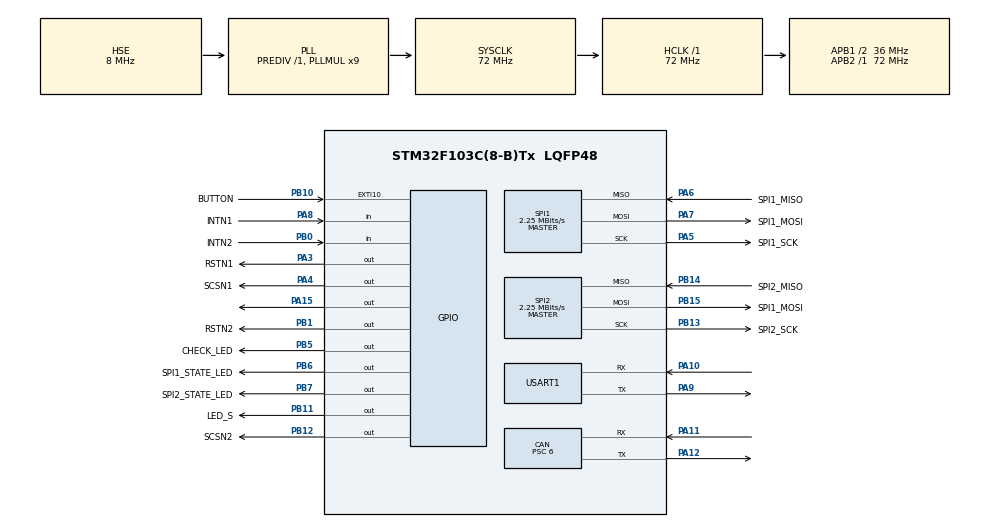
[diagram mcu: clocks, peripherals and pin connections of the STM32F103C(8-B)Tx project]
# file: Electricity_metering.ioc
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CAN.ABOM=ENABLE
CAN.AWUM=ENABLE
CAN.BS1=CAN_BS1_7TQ
CAN.BS2=CAN_BS2_6TQ
CAN.CalculateTimeBit=2333
CAN.CalculateTimeQuantum=166.66666666666669
CAN.Prescaler=6
Dma.Request0=USART1_RX
Dma.USART1_RX.0.Direction=DMA_PERIPH_TO_MEMORY
Dma.USART1_RX.0.Instance=DMA1_Channel5
Dma.USART1_RX.0.MemDataAlignment=DMA_MDATAALIGN_BYTE
Dma.USART1_RX.0.MemInc=DMA_MINC_ENABLE
Dma.USART1_RX.0.Mode=DMA_NORMAL
Dma.USART1_RX.0.PeriphDataAlignment=DMA_PDATAALIGN_BYTE
Dma.USART1_RX.0.PeriphInc=DMA_PINC_DISABLE
Dma.USART1_RX.0.Priority=DMA_PRIORITY_HIGH
FREERTOS.Tasks01=defaultTask,0,128,StartDefaultTask,Default,NULL,Dynamic,NULL,NULL
FREERTOS.configCHECK_FOR_STACK_OVERFLOW=2
FREERTOS.configLIBRARY_MAX_SYSCALL_INTERRUPT_PRIORITY=1
FREERTOS.configTOTAL_HEAP_SIZE=10240
FREERTOS.configUSE_MALLOC_FAILED_HOOK=1
FREERTOS.configUSE_TIMERS=1
Mcu.Family=STM32F1
Mcu.Name=STM32F103C(8-B)Tx
Mcu.Package=LQFP48
NVIC.DMA1_Channel5_IRQn=true\:1\:0\:false\:false\:true\:true\:false
NVIC.EXTI15_10_IRQn=true\:4\:0\:true\:false\:true\:true\:true
NVIC.PriorityGroup=NVIC_PRIORITYGROUP_4
NVIC.TIM1_UP_IRQn=true\:0\:0\:false\:false\:true\:false\:false
NVIC.TIM2_IRQn=true\:2\:0\:true\:false\:true\:true\:true
NVIC.TimeBase=TIM1_UP_IRQn
NVIC.TimeBaseIP=TIM1
NVIC.USART1_IRQn=true\:3\:0\:true\:false\:true\:true\:true
NVIC.USB_LP_CAN1_RX0_IRQn=true\:2\:0\:true\:false\:true\:true\:true
PA10.Mode=Asynchronous
PA10.Signal=USART1_RX
PA11.Mode=Master
PA11.Signal=CAN_RX
PA12.Mode=Master
PA12.Signal=CAN_TX
PA13.Mode=Serial_Wire
PA13.Signal=SYS_JTMS-SWDIO
PA14.Mode=Serial_Wire
PA14.Signal=SYS_JTCK-SWCLK
PA15.Signal=GPIO_Output
PA3.GPIO_Label=RSTN1
PA3.GPIO_Speed=GPIO_SPEED_FREQ_HIGH
PA3.PinState=GPIO_PIN_SET
PA3.Signal=GPIO_Output
PA4.GPIO_Label=SCSN1
PA4.GPIO_Speed=GPIO_SPEED_FREQ_HIGH
PA4.PinState=GPIO_PIN_SET
PA4.Signal=GPIO_Output
PA5.GPIO_Label=SPI1_SCK
PA5.Mode=Full_Duplex_Master
PA5.Signal=SPI1_SCK
PA6.GPIO_Label=SPI1_MISO
PA6.Mode=Full_Duplex_Master
PA6.Signal=SPI1_MISO
PA7.GPIO_Label=SPI1_MOSI
PA7.Mode=Full_Duplex_Master
PA7.Signal=SPI1_MOSI
PA8.GPIO_Label=INTN1
PA8.Signal=GPIO_Input
PA9.Mode=Asynchronous
PA9.Signal=USART1_TX
PB0.GPIO_Label=INTN2
PB0.Signal=GPIO_Input
PB1.GPIO_Label=RSTN2
PB1.PinState=GPIO_PIN_SET
PB1.Signal=GPIO_Output
PB10.GPIO_Label=BUTTON
PB10.Signal=GPXTI10
PB11.GPIO_Label=LED_S
PB11.GPIO_Speed=GPIO_SPEED_FREQ_HIGH
PB11.PinState=GPIO_PIN_RESET
PB11.Signal=GPIO_Output
PB12.GPIO_Label=SCSN2
PB12.GPIO_Speed=GPIO_SPEED_FREQ_HIGH
PB12.PinState=GPIO_PIN_SET
PB12.Signal=GPIO_Output
PB13.GPIO_Label=SPI2_SCK
PB13.Mode=Full_Duplex_Master
PB13.Signal=SPI2_SCK
PB14.GPIO_Label=SPI2_MISO
PB14.Mode=Full_Duplex_Master
PB14.Signal=SPI2_MISO
PB15.GPIO_Label=SPI1_MOSI
PB15.Mode=Full_Duplex_Master
PB15.Signal=SPI2_MOSI
PB5.GPIO_Label=CHECK_LED
PB5.GPIO_Speed=GPIO_SPEED_FREQ_HIGH
PB5.PinState=GPIO_PIN_SET
PB5.Signal=GPIO_Output
PB6.GPIO_Label=SPI1_STATE_LED
PB6.GPIO_Speed=GPIO_SPEED_FREQ_HIGH
PB6.PinState=GPIO_PIN_SET
PB6.Signal=GPIO_Output
PB7.GPIO_Label=SPI2_STATE_LED
PB7.GPIO_Speed=GPIO_SPEED_FREQ_HIGH
PB7.PinState=GPIO_PIN_SET
PB7.Signal=GPIO_Output
PD0-OSC_IN.Mode=HSE-External-Oscillator
PD0-OSC_IN.Signal=RCC_OSC_IN
PD1-OSC_OUT.Mode=HSE-External-Oscillator
PD1-OSC_OUT.Signal=RCC_OSC_OUT
ProjectManager.HeapSize=0x200
ProjectManager.StackSize=0x400
ProjectManager.TargetToolchain=MDK-ARM V5
RCC.AHBFreq_Value=72000000
RCC.APB1CLKDivider=RCC_HCLK_DIV2
RCC.APB1Freq_Value=36000000
RCC.APB1TimFreq_Value=72000000
RCC.APB2Freq_Value=72000000
RCC.APB2TimFreq_Value=72000000
RCC.HCLKFreq_Value=72000000
RCC.PLLMUL=RCC_PLL_MUL9
RCC.PLLSourceVirtual=RCC_PLLSOURCE_HSE
RCC.SYSCLKFreq_VALUE=72000000
RCC.SYSCLKSource=RCC_SYSCLKSOURCE_PLLCLK
RCC.USBFreq_Value=72000000
SPI1.BaudRatePrescaler=SPI_BAUDRATEPRESCALER_32
SPI1.CLKPhase=SPI_PHASE_2EDGE
SPI1.CalculateBaudRate=2.25 MBits/s
SPI1.Direction=SPI_DIRECTION_2LINES
SPI1.Mode=SPI_MODE_MASTER
SPI1.VirtualType=VM_MASTER
SPI2.BaudRatePrescaler=SPI_BAUDRATEPRESCALER_16
SPI2.CLKPhase=SPI_PHASE_2EDGE
SPI2.CalculateBaudRate=2.25 MBits/s
SPI2.Direction=SPI_DIRECTION_2LINES
SPI2.Mode=SPI_MODE_MASTER
SPI2.VirtualType=VM_MASTER
TIM2.Period=(7200-1)
TIM2.Prescaler=10000
USART1.VirtualMode=VM_ASYNC
VP_FREERTOS_VS_ENABLE.Mode=Enabled
VP_SYS_VS_tim1.Mode=TIM1
VP_TIM2_VS_ClockSourceINT.Mode=Internal
board=Electricity_metering

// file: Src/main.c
/**
  ******************************************************************************
  * File Name          : main.c
  * Description        : Main program body
  ******************************************************************************
  * This notice applies to any and all portions of this file
  * that are not between comment pairs USER CODE BEGIN and
  * USER CODE END. Other portions of this file, whether
  * inserted by the user or by software development tools
  * are owned by their respective copyright owners.
  *
  * Copyright (c) 2017 STMicroelectronics International N.V.
  * All rights reserved.
  *
  * Redistribution and use in source and binary forms, with or without
  * modification, are permitted, provided that the following conditions are met:
  *
  * 1. Redistribution of source code must retain the above copyright notice,
  *    this list of conditions and the following disclaimer.
  * 2. Redistributions in binary form must reproduce the above copyright notice,
  *    this list of conditions and the following disclaimer in the documentation
  *    and/or other materials provided with the distribution.
  * 3. Neither the name of STMicroelectronics nor the names of other
  *    contributors to this software may be used to endorse or promote products
  *    derived from this software without specific written permission.
  * 4. This software, including modifications and/or derivative works of this
  *    software, must execute solely and exclusively on microcontroller or
  *    microprocessor devices manufactured by or for STMicroelectronics.
  * 5. Redistribution and use of this software other than as permitted under
  *    this license is void and will automatically terminate your rights under
  *    this license.
  *
  * THIS SOFTWARE IS PROVIDED BY STMICROELECTRONICS AND CONTRIBUTORS "AS IS"
  * AND ANY EXPRESS, IMPLIED OR STATUTORY WARRANTIES, INCLUDING, BUT NOT
  * LIMITED TO, THE IMPLIED WARRANTIES OF MERCHANTABILITY, FITNESS FOR A
  * PARTICULAR PURPOSE AND NON-INFRINGEMENT OF THIRD PARTY INTELLECTUAL PROPERTY
  * RIGHTS ARE DISCLAIMED TO THE FULLEST EXTENT PERMITTED BY LAW. IN NO EVENT
  * SHALL STMICROELECTRONICS OR CONTRIBUTORS BE LIABLE FOR ANY DIRECT, INDIRECT,
  * INCIDENTAL, SPECIAL, EXEMPLARY, OR CONSEQUENTIAL DAMAGES (INCLUDING, BUT NOT
  * LIMITED TO, PROCUREMENT OF SUBSTITUTE GOODS OR SERVICES; LOSS OF USE, DATA,
  * OR PROFITS; OR BUSINESS INTERRUPTION) HOWEVER CAUSED AND ON ANY THEORY OF
  * LIABILITY, WHETHER IN CONTRACT, STRICT LIABILITY, OR TORT (INCLUDING
  * NEGLIGENCE OR OTHERWISE) ARISING IN ANY WAY OUT OF THE USE OF THIS SOFTWARE,
  * EVEN IF ADVISED OF THE POSSIBILITY OF SUCH DAMAGE.
  *
  ******************************************************************************
  */

#include "main.h"
#include "stm32f1xx_hal.h"
#include "cmsis_os.h"
#include "can.h"
#include "dma.h"
#include "spi.h"
#include "tim.h"
#include "usart.h"
#include "gpio.h"

/* USER CODE BEGIN Includes */
#include "spi_network.h"
#include "env.h"
/* USER CODE END Includes */

/* USER CODE BEGIN PV */
/* Private variables ---------------------------------------------------------*/

/* USER CODE END PV */

void SystemClock_Config(void);
void MX_FREERTOS_Init(void);

/* USER CODE BEGIN PFP */
/* Private function prototypes -----------------------------------------------*/
/* USER CODE END PFP */

int main(void)
{
  unsigned int i;
  unsigned int x;

  /* MCU Configuration----------------------------------------------------------*/

  /* Reset of all peripherals, Initializes the Flash interface and the Systick. */
  HAL_Init();

  /* Configure the system clock */
  SystemClock_Config();

  /* Initialize all configured peripherals */
  MX_GPIO_Init();
  MX_DMA_Init();

  /* USER CODE BEGIN 2 */
	MX_CAN_Init();
	MX_SPI1_Init();
	MX_SPI2_Init();
	MX_TIM2_Init();
	MX_USART1_UART_Init();
	MX_DMA_Init();
	envUserParaLoad();

  /* USER CODE END 2 */

  /* Call init function for freertos objects (in freertos.c) */
  MX_FREERTOS_Init();

  /* Start scheduler */
  osKernelStart();

  /* We should never get here as control is now taken by the scheduler */

  /* Infinite loop */
  while (1)
  {
   i=(+x);
  }

}

/** System Clock Configuration
*/
void SystemClock_Config(void)
{

  RCC_OscInitTypeDef RCC_OscInitStruct;
  RCC_ClkInitTypeDef RCC_ClkInitStruct;

    /**Initializes the CPU, AHB and APB busses clocks
    */
  RCC_OscInitStruct.OscillatorType = RCC_OSCILLATORTYPE_HSE;
  RCC_OscInitStruct.HSEState = RCC_HSE_ON;
  RCC_OscInitStruct.HSEPredivValue = RCC_HSE_PREDIV_DIV1;
  RCC_OscInitStruct.HSIState = RCC_HSI_ON;
  RCC_OscInitStruct.PLL.PLLState = RCC_PLL_ON;
  RCC_OscInitStruct.PLL.PLLSource = RCC_PLLSOURCE_HSE;
  RCC_OscInitStruct.PLL.PLLMUL = RCC_PLL_MUL9;
  if (HAL_RCC_OscConfig(&RCC_OscInitStruct) != HAL_OK)
  {
    _Error_Handler(__FILE__, __LINE__);
  }

    /**Initializes the CPU, AHB and APB busses clocks
    */
  RCC_ClkInitStruct.ClockType = RCC_CLOCKTYPE_HCLK|RCC_CLOCKTYPE_SYSCLK
                              |RCC_CLOCKTYPE_PCLK1|RCC_CLOCKTYPE_PCLK2;
  RCC_ClkInitStruct.SYSCLKSource = RCC_SYSCLKSOURCE_PLLCLK;
  RCC_ClkInitStruct.AHBCLKDivider = RCC_SYSCLK_DIV1;
  RCC_ClkInitStruct.APB1CLKDivider = RCC_HCLK_DIV2;
  RCC_ClkInitStruct.APB2CLKDivider = RCC_HCLK_DIV1;

  if (HAL_RCC_ClockConfig(&RCC_ClkInitStruct, FLASH_LATENCY_2) != HAL_OK)
  {
    _Error_Handler(__FILE__, __LINE__);
  }

    /**Configure the Systick interrupt time
    */
  HAL_SYSTICK_Config(HAL_RCC_GetHCLKFreq()/1000);

    /**Configure the Systick
    */
  HAL_SYSTICK_CLKSourceConfig(SYSTICK_CLKSOURCE_HCLK);

  /* SysTick_IRQn interrupt configuration */
  HAL_NVIC_SetPriority(SysTick_IRQn, 15, 0);
}

void HAL_TIM_PeriodElapsedCallback(TIM_HandleTypeDef *htim)
{
  if (htim->Instance == TIM1) {
    HAL_IncTick();
  }
/* USER CODE BEGIN Callback 1 */
  if (htim->Instance == TIM2) {
		BaseType_t xHigherPriorityTaskWoken = pdFALSE;
		vTaskNotifyGiveFromISR(taskSPIScanHandle,&xHigherPriorityTaskWoken);
    portYIELD_FROM_ISR( xHigherPriorityTaskWoken );
  }
/* USER CODE END Callback 1 */
}

void _Error_Handler(char * file, int line)
{
  while(1)
  {
  }
}

/************************ (C) COPYRIGHT STMicroelectronics *****END OF FILE****/

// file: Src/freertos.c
/**
  ******************************************************************************
  * File Name          : freertos.c
  * Description        : Code for freertos applications
  ******************************************************************************
  * This notice applies to any and all portions of this file
  * that are not between comment pairs USER CODE BEGIN and
  * USER CODE END. Other portions of this file, whether
  * inserted by the user or by software development tools
  * are owned by their respective copyright owners.
  *
  * Copyright (c) 2017 STMicroelectronics International N.V.
  * All rights reserved.
  *
  * Redistribution and use in source and binary forms, with or without
  * modification, are permitted, provided that the following conditions are met:
  *
  * 1. Redistribution of source code must retain the above copyright notice,
  *    this list of conditions and the following disclaimer.
  * 2. Redistributions in binary form must reproduce the above copyright notice,
  *    this list of conditions and the following disclaimer in the documentation
  *    and/or other materials provided with the distribution.
  * 3. Neither the name of STMicroelectronics nor the names of other
  *    contributors to this software may be used to endorse or promote products
  *    derived from this software without specific written permission.
  * 4. This software, including modifications and/or derivative works of this
  *    software, must execute solely and exclusively on microcontroller or
  *    microprocessor devices manufactured by or for STMicroelectronics.
  * 5. Redistribution and use of this software other than as permitted under
  *    this license is void and will automatically terminate your rights under
  *    this license.
  *
  * THIS SOFTWARE IS PROVIDED BY STMICROELECTRONICS AND CONTRIBUTORS "AS IS"
  * AND ANY EXPRESS, IMPLIED OR STATUTORY WARRANTIES, INCLUDING, BUT NOT
  * LIMITED TO, THE IMPLIED WARRANTIES OF MERCHANTABILITY, FITNESS FOR A
  * PARTICULAR PURPOSE AND NON-INFRINGEMENT OF THIRD PARTY INTELLECTUAL PROPERTY
  * RIGHTS ARE DISCLAIMED TO THE FULLEST EXTENT PERMITTED BY LAW. IN NO EVENT
  * SHALL STMICROELECTRONICS OR CONTRIBUTORS BE LIABLE FOR ANY DIRECT, INDIRECT,
  * INCIDENTAL, SPECIAL, EXEMPLARY, OR CONSEQUENTIAL DAMAGES (INCLUDING, BUT NOT
  * LIMITED TO, PROCUREMENT OF SUBSTITUTE GOODS OR SERVICES; LOSS OF USE, DATA,
  * OR PROFITS; OR BUSINESS INTERRUPTION) HOWEVER CAUSED AND ON ANY THEORY OF
  * LIABILITY, WHETHER IN CONTRACT, STRICT LIABILITY, OR TORT (INCLUDING
  * NEGLIGENCE OR OTHERWISE) ARISING IN ANY WAY OUT OF THE USE OF THIS SOFTWARE,
  * EVEN IF ADVISED OF THE POSSIBILITY OF SUCH DAMAGE.
  *
  ******************************************************************************
  */

#include "FreeRTOS.h"
#include "task.h"
#include "cmsis_os.h"

/* USER CODE BEGIN Includes */
#include "user_config.h"
#include "can_network.h"
#include "spi_network.h"
/* USER CODE END Includes */

osThreadId defaultTaskHandle;

void StartDefaultTask(void const * argument);

void MX_FREERTOS_Init(void); /* (MISRA C 2004 rule 8.1) */

/* Hook prototypes */
void vApplicationStackOverflowHook(xTaskHandle xTask, signed char *pcTaskName);
void vApplicationMallocFailedHook(void);

/* USER CODE BEGIN 4 */
__weak void vApplicationStackOverflowHook(xTaskHandle xTask, signed char *pcTaskName)
{
   /* Run time stack overflow checking is performed if
   configCHECK_FOR_STACK_OVERFLOW is defined to 1 or 2. This hook function is
   called if a stack overflow is detected. */
}
/* USER CODE END 4 */

/* USER CODE BEGIN 5 */
__weak void vApplicationMallocFailedHook(void)
{
   /* vApplicationMallocFailedHook() will only be called if
   configUSE_MALLOC_FAILED_HOOK is set to 1 in FreeRTOSConfig.h. It is a hook
   function that will get called if a call to pvPortMalloc() fails.
   pvPortMalloc() is called internally by the kernel whenever a task, queue,
   timer or semaphore is created. It is also called by various parts of the
   demo application. If heap_1.c or heap_2.c are used, then the size of the
   heap available to pvPortMalloc() is defined by configTOTAL_HEAP_SIZE in
   FreeRTOSConfig.h, and the xPortGetFreeHeapSize() API function can be used
   to query the size of free heap space that remains (although it does not
   provide information on how the remaining heap might be fragmented). */
}
/* USER CODE END 5 */

/* Init FreeRTOS */

void MX_FREERTOS_Init(void) {

  /* Create the thread(s) */
  /* definition and creation of defaultTask */
  osThreadDef(defaultTask, StartDefaultTask, osPriorityNormal, 0, 128);
  defaultTaskHandle = osThreadCreate(osThread(defaultTask), NULL);

  /* USER CODE BEGIN RTOS_THREADS */
  /* add threads, ... */
	CanNetwork_init();
	SPINetwork_init();
	UserConfig_Init();
  /* USER CODE END RTOS_THREADS */

}

/* StartDefaultTask function */
void StartDefaultTask(void const * argument)
{

  for(;;)
  {
    osDelay(1);
  }
}

/************************ (C) COPYRIGHT STMicroelectronics *****END OF FILE****/
